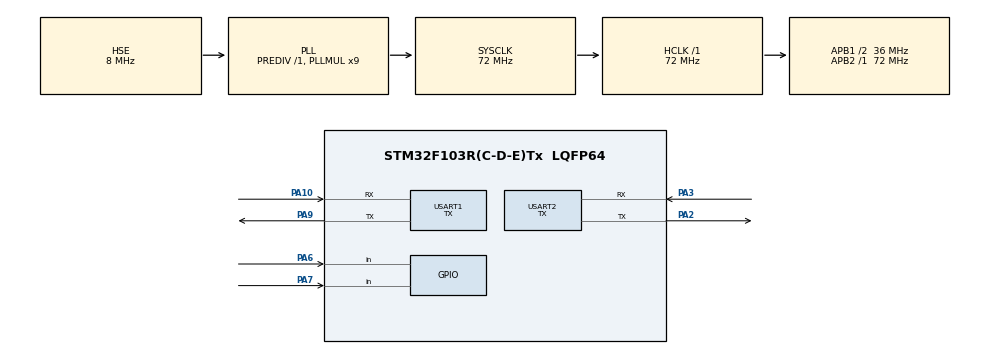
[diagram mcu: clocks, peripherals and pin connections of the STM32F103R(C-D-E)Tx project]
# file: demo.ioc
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Mcu.Family=STM32F1
Mcu.Name=STM32F103R(C-D-E)Tx
Mcu.Package=LQFP64
NVIC.PriorityGroup=NVIC_PRIORITYGROUP_4
NVIC.TIM2_IRQn=true\:0\:0\:false\:false\:true\:true\:true\:true
NVIC.USART1_IRQn=true\:0\:0\:false\:false\:true\:true\:true\:true
PA10.Mode=Asynchronous
PA10.Signal=USART1_RX
PA13.Mode=Serial_Wire
PA13.Signal=SYS_JTMS-SWDIO
PA14.Mode=Serial_Wire
PA14.Signal=SYS_JTCK-SWCLK
PA2.Mode=Asynchronous
PA2.Signal=USART2_TX
PA3.Mode=Asynchronous
PA3.Signal=USART2_RX
PA6.GPIO_PuPd=GPIO_PULLUP
PA6.Signal=GPIO_Input
PA7.GPIO_PuPd=GPIO_PULLUP
PA7.Signal=GPIO_Input
PA9.Mode=Asynchronous
PA9.Signal=USART1_TX
PD0-OSC_IN.Mode=HSE-External-Oscillator
PD0-OSC_IN.Signal=RCC_OSC_IN
PD1-OSC_OUT.Mode=HSE-External-Oscillator
PD1-OSC_OUT.Signal=RCC_OSC_OUT
ProjectManager.HeapSize=0x200
ProjectManager.StackSize=0x400
ProjectManager.TargetToolchain=MDK-ARM V5
RCC.AHBFreq_Value=72000000
RCC.APB1CLKDivider=RCC_HCLK_DIV2
RCC.APB1Freq_Value=36000000
RCC.APB1TimFreq_Value=72000000
RCC.APB2Freq_Value=72000000
RCC.APB2TimFreq_Value=72000000
RCC.HCLKFreq_Value=72000000
RCC.PLLMUL=RCC_PLL_MUL9
RCC.PLLSourceVirtual=RCC_PLLSOURCE_HSE
RCC.SYSCLKFreq_VALUE=72000000
RCC.SYSCLKSource=RCC_SYSCLKSOURCE_PLLCLK
RCC.USBFreq_Value=72000000
TIM2.Period=1000-1
TIM2.Prescaler=72-1
USART1.Mode=MODE_TX
USART1.VirtualMode=VM_ASYNC
USART2.Mode=MODE_TX
USART2.VirtualMode=VM_ASYNC
VP_TIM2_VS_ClockSourceINT.Mode=Internal
board=custom

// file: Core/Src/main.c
/* USER CODE BEGIN Header */
/**
 ******************************************************************************
 * @file           : main.c
 * @brief          : Main program body
 ******************************************************************************
 * @attention
 *
 * <h2><center>&copy; Copyright (c) 2022 STMicroelectronics.
 * All rights reserved.</center></h2>
 *
 * This software component is licensed by ST under BSD 3-Clause license,
 * the "License"; You may not use this file except in compliance with the
 * License. You may obtain a copy of the License at:
 *                        opensource.org/licenses/BSD-3-Clause
 *
 ******************************************************************************
 */
/* USER CODE END Header */
#include "main.h"
#include "gpio.h"
#include "tim.h"
#include "usart.h"

/* USER CODE BEGIN PD */

#define ENCODER_TIM htim2
#define ENCODER_TYPE 2

// ENCODER_TYPE
//  1 = 每2格计1次，
//  2 = 每1格计1次

/* USER CODE END PD */

void SystemClock_Config(void);

/* USER CODE BEGIN 0 */

uint32_t encoder_cnt = 0;
uint32_t encoder_max = 64;
int8_t   encoder_dir = 0;  // value = -1、0、1

void encoder_handler(uint8_t now_a, uint8_t now_b) {
    static uint8_t last_a = 0, last_b = 0;

    encoder_dir = 0;

    if (last_a != now_a) {
#if ENCODER_TYPE == 1

        if (now_a == 0) {
            encoder_dir = (now_b == 1) ? 1 : -1;
        }

#elif ENCODER_TYPE == 2

        if (now_a == 1) {
            // A 上升沿
            if (last_b == now_b) {  // B 不变
                encoder_dir = now_b ? -1 : 1;
            } else {  // B 上升沿 & 下降沿
                encoder_dir = now_b ? -1 : 1;
            }
        } else {
            // A 下降沿
            if (last_b == now_b) {  // B 不变
                encoder_dir = now_b ? 1 : -1;
            } else {  // B 上升沿 & 下降沿
                encoder_dir = now_b ? 1 : -1;
            }
        }

#endif
        last_a = now_a;
        last_b = now_b;

        switch (encoder_dir) {
            case -1: {
                if (encoder_cnt == 0) {
                    encoder_cnt = encoder_max;
                } else {
                    --encoder_cnt;
                }
                break;
            }
            case 1: {
                if (encoder_cnt == encoder_max) {
                    encoder_cnt = 0;
                } else {
                    ++encoder_cnt;
                }
                break;
            }
            default: break;
        }
    }
}

void HAL_TIM_PeriodElapsedCallback(TIM_HandleTypeDef* htim) {
    encoder_handler(
        HAL_GPIO_ReadPin(GPIOA, GPIO_PIN_6),
        HAL_GPIO_ReadPin(GPIOA, GPIO_PIN_7));

    if (encoder_dir != 0)
        printf("[%d]%d\r\n", encoder_dir, encoder_cnt);
}
/* USER CODE END 0 */

int main(void) {

    /* MCU Configuration--------------------------------------------------------*/

    /* Reset of all peripherals, Initializes the Flash interface and the Systick. */
    HAL_Init();

    /* Configure the system clock */
    SystemClock_Config();

    /* Initialize all configured peripherals */
    MX_GPIO_Init();
    MX_USART1_UART_Init();
    MX_USART2_UART_Init();
    MX_TIM2_Init();
    /* USER CODE BEGIN 2 */
    HAL_TIM_Base_Start_IT(&htim2);
    /* USER CODE END 2 */

    /* Infinite loop */
    while (1) {

    }
}

void SystemClock_Config(void) {
    RCC_OscInitTypeDef RCC_OscInitStruct = {0};
    RCC_ClkInitTypeDef RCC_ClkInitStruct = {0};

    /** Initializes the RCC Oscillators according to the specified parameters
     * in the RCC_OscInitTypeDef structure.
     */
    RCC_OscInitStruct.OscillatorType = RCC_OSCILLATORTYPE_HSE;
    RCC_OscInitStruct.HSEState       = RCC_HSE_ON;
    RCC_OscInitStruct.HSEPredivValue = RCC_HSE_PREDIV_DIV1;
    RCC_OscInitStruct.HSIState       = RCC_HSI_ON;
    RCC_OscInitStruct.PLL.PLLState   = RCC_PLL_ON;
    RCC_OscInitStruct.PLL.PLLSource  = RCC_PLLSOURCE_HSE;
    RCC_OscInitStruct.PLL.PLLMUL     = RCC_PLL_MUL9;
    if (HAL_RCC_OscConfig(&RCC_OscInitStruct) != HAL_OK) {
        Error_Handler();
    }

    /** Initializes the CPU, AHB and APB buses clocks
     */
    RCC_ClkInitStruct.ClockType      = RCC_CLOCKTYPE_HCLK | RCC_CLOCKTYPE_SYSCLK | RCC_CLOCKTYPE_PCLK1 | RCC_CLOCKTYPE_PCLK2;
    RCC_ClkInitStruct.SYSCLKSource   = RCC_SYSCLKSOURCE_PLLCLK;
    RCC_ClkInitStruct.AHBCLKDivider  = RCC_SYSCLK_DIV1;
    RCC_ClkInitStruct.APB1CLKDivider = RCC_HCLK_DIV2;
    RCC_ClkInitStruct.APB2CLKDivider = RCC_HCLK_DIV1;

    if (HAL_RCC_ClockConfig(&RCC_ClkInitStruct, FLASH_LATENCY_2) != HAL_OK) {
        Error_Handler();
    }
}

void Error_Handler(void) {
}
